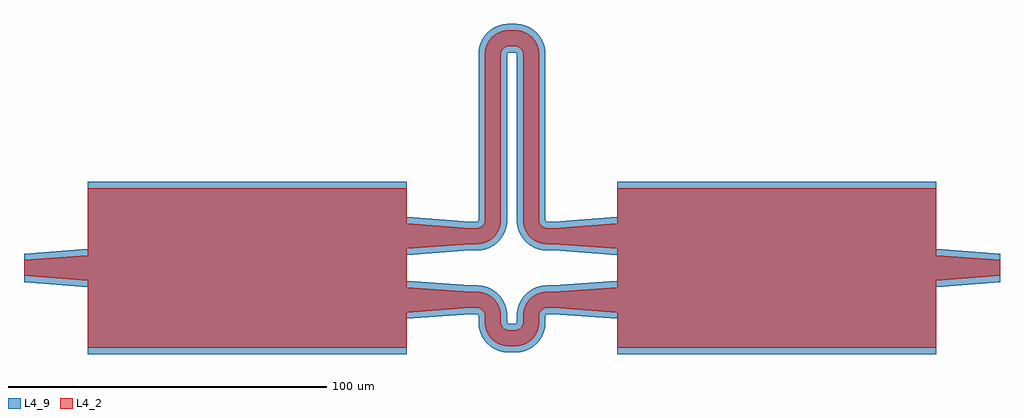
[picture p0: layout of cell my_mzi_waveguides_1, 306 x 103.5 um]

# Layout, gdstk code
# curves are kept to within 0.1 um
import gdstk
lib = gdstk.Library(unit=1e-6, precision=5e-09)
def R(c, l, rs):  # rectangles x0, y0, x1, y1
    for r in rs: c.add(gdstk.rectangle(r[:2], r[2:], *l))
def P(c, l, *ps):  # polygons
    for p in ps: c.add(gdstk.Polygon(p, *l))
L4_2 = (4, 2)
L4_9 = (4, 9)

mmi_1x2_tapered_1_mmi_mm = lib.new_cell('MMI_1x2_tapered_1_MMI_mmi_trace')
R(mmi_1x2_tapered_1_mmi_mm, L4_2, [(0,-25,100,25)])
P(mmi_1x2_tapered_1_mmi_mm, L4_9, [(0,-27),(100,-27),(100,-25),(100,25),(100,27),(0,27),(0,25),(0,-25)])

mmi_1x2_tapered_1_transi = lib.new_cell('MMI_1x2_tapered_1_TRANSITION1')
P(mmi_1x2_tapered_1_transi, L4_2, [(0,-4),(0,4),(-20,2.5),(-20,-2.5)])
P(mmi_1x2_tapered_1_transi, L4_9, [(0,-6),(0,-4),(0,4),(0,6),(-20,4.5),(-20,2.5),(-20,-2.5),(-20,-4.5)])

c_mmi_1x2_tapered_1_transi = lib.new_cell('MMI_1x2_tapered_1_TRANSITION2')
P(c_mmi_1x2_tapered_1_transi, L4_2, [(100,-6),(100,-14),(120,-12.5),(120,-7.5)])
P(c_mmi_1x2_tapered_1_transi, L4_9, [(100,-4),(100,-6),(100,-14),(100,-16),(120,-14.5),(120,-12.5),(120,-7.5),(120,-5.5)])

c_mmi_1x2_tapered_1_transi_ = lib.new_cell('MMI_1x2_tapered_1_TRANSITION3')
P(c_mmi_1x2_tapered_1_transi_, L4_2, [(100,14),(100,6),(120,7.5),(120,12.5)])
P(c_mmi_1x2_tapered_1_transi_, L4_9, [(100,16),(100,14),(100,6),(100,4),(120,5.5),(120,7.5),(120,12.5),(120,14.5)])

my_mzi_waveguides_1t_spl = lib.new_cell('my_mzi_waveguides_1T_splitter')
my_mzi_waveguides_1t_spl.add(gdstk.Reference(mmi_1x2_tapered_1_mmi_mm, (0,0)))
my_mzi_waveguides_1t_spl.add(gdstk.Reference(mmi_1x2_tapered_1_transi, (0,0)))
my_mzi_waveguides_1t_spl.add(gdstk.Reference(c_mmi_1x2_tapered_1_transi, (0,0)))
my_mzi_waveguides_1t_spl.add(gdstk.Reference(c_mmi_1x2_tapered_1_transi_, (0,0)))

mmi_2x1_tapered_1_mmi_mm = lib.new_cell('MMI_2x1_tapered_1_MMI_mmi_trace')
R(mmi_2x1_tapered_1_mmi_mm, L4_2, [(0,-25,100,25)])
P(mmi_2x1_tapered_1_mmi_mm, L4_9, [(0,-27),(100,-27),(100,-25),(100,25),(100,27),(0,27),(0,25),(0,-25)])

mmi_2x1_tapered_1_transi = lib.new_cell('MMI_2x1_tapered_1_TRANSITION1')
P(mmi_2x1_tapered_1_transi, L4_2, [(0,-14),(0,-6),(-20,-7.5),(-20,-12.5)])
P(mmi_2x1_tapered_1_transi, L4_9, [(0,-16),(0,-14),(0,-6),(0,-4),(-20,-5.5),(-20,-7.5),(-20,-12.5),(-20,-14.5)])

c_mmi_2x1_tapered_1_transi = lib.new_cell('MMI_2x1_tapered_1_TRANSITION2')
P(c_mmi_2x1_tapered_1_transi, L4_2, [(0,6),(0,14),(-20,12.5),(-20,7.5)])
P(c_mmi_2x1_tapered_1_transi, L4_9, [(0,4),(0,6),(0,14),(0,16),(-20,14.5),(-20,12.5),(-20,7.5),(-20,5.5)])

c_mmi_2x1_tapered_1_transi_ = lib.new_cell('MMI_2x1_tapered_1_TRANSITION3')
P(c_mmi_2x1_tapered_1_transi_, L4_2, [(100,4),(100,-4),(120,-2.5),(120,2.5)])
P(c_mmi_2x1_tapered_1_transi_, L4_9, [(100,6),(100,4),(100,-4),(100,-6),(120,-4.5),(120,-2.5),(120,2.5),(120,4.5)])

my_mzi_waveguides_1t_com = lib.new_cell('my_mzi_waveguides_1T_combiner')
my_mzi_waveguides_1t_com.add(gdstk.Reference(mmi_2x1_tapered_1_mmi_mm, (0,0)))
my_mzi_waveguides_1t_com.add(gdstk.Reference(mmi_2x1_tapered_1_transi, (0,0)))
my_mzi_waveguides_1t_com.add(gdstk.Reference(c_mmi_2x1_tapered_1_transi, (0,0)))
my_mzi_waveguides_1t_com.add(gdstk.Reference(c_mmi_2x1_tapered_1_transi_, (0,0)))

my_mzi_waveguides_1_arm2 = lib.new_cell('my_mzi_waveguides_1_arm2')
P(my_mzi_waveguides_1_arm2, L4_2, [(120,7.5),(123.54,7.66),(125.02,8.135),(126.155,8.755),(127.165,9.56),(128.245,10.845),(129.015,12.34),(129.39,13.71),(129.5,14.87),(129.5,67.085),(129.71,68.005),(130.185,68.72),(130.995,69.29),(131.915,69.5),(134.17,69.495),(135.125,69.235),(136.105,68.35),(136.495,67.17),(136.5,14.87),(136.66,13.46),(137.135,11.98),(137.755,10.845),(138.56,9.835),(139.845,8.755),(140.98,8.135),(142.46,7.66),(146,7.5),(146,12.5),(143.83,12.505),(142.875,12.765),(141.895,13.65),(141.505,14.83),(141.5,67.13),(141.39,68.29),(140.7,70.37),(139.44,72.165),(137.715,73.515),(135.67,74.31),(134.13,74.5),(131.225,74.46),(129.83,74.18),(128.63,73.7),(127.125,72.7),(126.055,71.575),(125.185,70.135),(124.69,68.67),(124.5,67.13),(124.495,14.83),(124.105,13.65),(123.125,12.765),(122.17,12.505),(120,12.5)])
P(my_mzi_waveguides_1_arm2, L4_9, [(120,5.5),(122.655,5.52),(124.275,5.775),(125.975,6.37),(127.395,7.18),(128.775,8.34),(130,9.875),(130.885,11.63),(131.33,13.205),(131.5,14.835),(131.5,67.045),(131.63,67.34),(131.955,67.5),(134.105,67.49),(134.5,67.045),(134.5,14.835),(134.775,12.725),(135.37,11.025),(136.37,9.335),(137.46,8.11),(138.875,7),(140.63,6.115),(142.205,5.67),(146,5.5),(146,14.5),(143.895,14.51),(143.5,14.955),(143.41,68.31),(143.095,69.75),(142.63,70.975),(142,72.125),(141.11,73.3),(139.925,74.43),(138.705,75.255),(136.275,76.225),(134.655,76.48),(131.345,76.48),(129.57,76.185),(127.73,75.485),(126.075,74.43),(124.57,72.925),(123.44,71.12),(122.775,69.275),(122.5,67.165),(122.5,14.955),(122.105,14.51),(120,14.5)])

my_mzi_waveguides_1_arm1 = lib.new_cell('my_mzi_waveguides_1_arm1')
P(my_mzi_waveguides_1_arm1, L4_2, [(120,-12.5),(122.725,-12.605),(123.455,-12.965),(124.035,-13.545),(124.465,-14.57),(124.54,-17.775),(124.94,-19.54),(125.9,-21.365),(127.425,-22.945),(128.865,-23.815),(130.71,-24.39),(131.87,-24.5),(135.29,-24.39),(136.66,-24.015),(138.155,-23.245),(139.44,-22.165),(140.385,-20.935),(141.015,-19.66),(141.34,-18.54),(141.535,-14.57),(142.13,-13.34),(142.8,-12.805),(143.57,-12.535),(146,-12.5),(146,-7.5),(143.61,-7.51),(141.83,-7.82),(140.065,-8.615),(138.56,-9.835),(137.42,-11.4),(136.75,-13.08),(136.51,-14.61),(136.495,-17.17),(136.29,-18.005),(135.56,-18.955),(134.43,-19.465),(131.57,-19.465),(130.69,-19.13),(130.045,-18.56),(129.535,-17.43),(129.43,-13.97),(128.815,-11.865),(128.245,-10.845),(127.44,-9.835),(126.365,-8.9),(125.135,-8.185),(123.03,-7.57),(120,-7.5)])
P(my_mzi_waveguides_1_arm1, L4_9, [(120,-14.5),(122.045,-14.5),(122.44,-14.76),(122.59,-18.31),(123.175,-20.52),(123.745,-21.705),(124.57,-22.925),(126.605,-24.82),(128.63,-25.885),(131.02,-26.45),(134.655,-26.48),(137.06,-25.995),(138.56,-25.335),(139.925,-24.43),(141.22,-23.175),(142.255,-21.705),(142.885,-20.37),(143.33,-18.795),(143.495,-17.33),(143.5,-14.955),(143.63,-14.66),(143.955,-14.5),(146,-14.5),(146,-5.5),(143.02,-5.55),(140.94,-6.005),(138.875,-7),(137.225,-8.34),(136,-9.875),(135.005,-11.94),(134.55,-14.02),(134.49,-17.105),(134.045,-17.5),(131.955,-17.5),(131.56,-17.24),(131.45,-14.02),(130.885,-11.63),(129.63,-9.335),(128.175,-7.78),(126.56,-6.665),(124.43,-5.815),(122.655,-5.52),(120,-5.5)])

my_mzi_waveguides_1 = lib.new_cell('my_mzi_waveguides_1')
my_mzi_waveguides_1.add(gdstk.Reference(my_mzi_waveguides_1t_spl, (0,0)))
my_mzi_waveguides_1.add(gdstk.Reference(my_mzi_waveguides_1t_com, (166,0)))
my_mzi_waveguides_1.add(gdstk.Reference(my_mzi_waveguides_1_arm2, (0,0)))
my_mzi_waveguides_1.add(gdstk.Reference(my_mzi_waveguides_1_arm1, (0,0)))

lib.write_gds('my_mzi_waveguides_1.gds')
